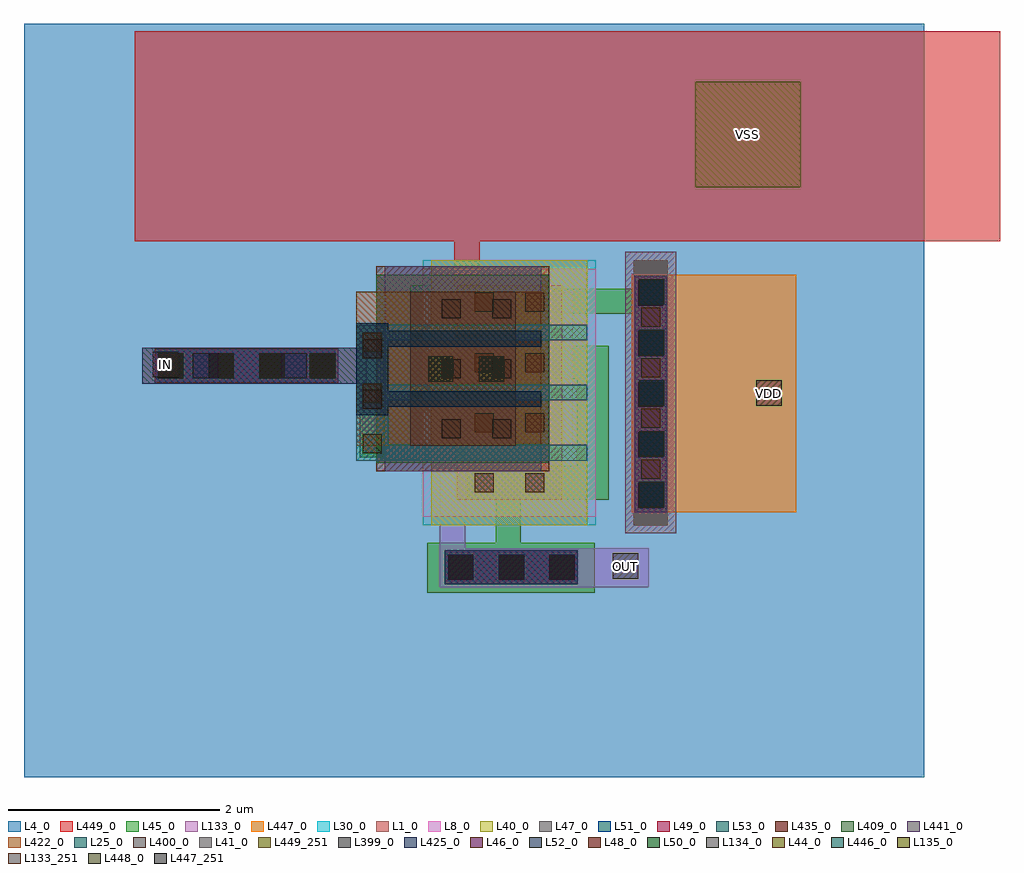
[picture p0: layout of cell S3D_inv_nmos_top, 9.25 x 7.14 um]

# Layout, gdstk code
from math import pi, radians
import gdstk
lib = gdstk.Library(unit=1e-6, precision=1e-09)
def R(c, l, rs):  # rectangles x0, y0, x1, y1
    for r in rs: c.add(gdstk.rectangle(r[:2], r[2:], *l))
def A(c, l, x, y, w, h, nx, ny, dx, dy):  # array of equal rectangles
    R(c, l, [(x+i*dx, y+j*dy, x+i*dx+w, y+j*dy+h) for i in range(nx) for j in range(ny)])
L1_0 = (1, 0)
L4_0 = (4, 0)
L8_0 = (8, 0)
L25_0 = (25, 0)
L30_0 = (30, 0)
L40_0 = (40, 0)
L41_0 = (41, 0)
L44_0 = (44, 0)
L45_0 = (45, 0)
L46_0 = (46, 0)
L47_0 = (47, 0)
L48_0 = (48, 0)
L49_0 = (49, 0)
L50_0 = (50, 0)
L51_0 = (51, 0)
L52_0 = (52, 0)
L53_0 = (53, 0)
L133_0 = (133, 0)
L133_251 = (133, 251)
L134_0 = (134, 0)
L135_0 = (135, 0)
L399_0 = (399, 0)
L400_0 = (400, 0)
L409_0 = (409, 0)
L422_0 = (422, 0)
L425_0 = (425, 0)
L435_0 = (435, 0)
L441_0 = (441, 0)
L446_0 = (446, 0)
L447_0 = (447, 0)
L447_251 = (447, 251)
L448_0 = (448, 0)
L449_0 = (449, 0)
L449_251 = (449, 251)

abutcontact_cdns_4466407 = lib.new_cell('AbutContact_CDNS_446640711562')
R(abutcontact_cdns_4466407, L1_0, [(-0.14,-0.03,2.37,0.29)])
A(abutcontact_cdns_4466407, L44_0, 0.3, 0.04, 0.18, 0.18, 4, 1, 0.48, 0)
R(abutcontact_cdns_4466407, L45_0, [(-0.14,-0.03,2.37,0.29)])

pmos_hs_4_cdns_446640711 = lib.new_cell('pmos_hs_4_CDNS_446640711560')
A(pmos_hs_4_cdns_446640711, L1_0, 0, 0, 0.15, 1, 3, 1, 0.57, 0)
A(pmos_hs_4_cdns_446640711, L1_0, -0.37, 0.1, 0.32, 0.8, 4, 1, 0.57, 0)
R(pmos_hs_4_cdns_446640711, L1_0, [(-0.37,0,0,1), (0.15,0,0.57,1), (0.72,0,1.14,1), (1.29,0,1.66,1)])
R(pmos_hs_4_cdns_446640711, L4_0, [(-1.02,-1.41,2.31,2.2), (-1.02,-1.41,2.31,2.2), (-0.77,-1.16,2.06,1.32)])
R(pmos_hs_4_cdns_446640711, L8_0, [(-0.53,-0.32,1.82,1.32)])
A(pmos_hs_4_cdns_446640711, L25_0, 0, -0.24, 0.15, 0.24, 3, 2, 0.57, 1.24)
A(pmos_hs_4_cdns_446640711, L25_0, 0, -0.24, 0.15, 1.48, 3, 1, 0.57, 0)
A(pmos_hs_4_cdns_446640711, L25_0, 0, 1.24, 0.15, 0.41, 3, 1, 0.57, 0)
R(pmos_hs_4_cdns_446640711, L25_0, [(0,1.65,1.29,1.95), (0.01,1.65,1.27,1.95)])
R(pmos_hs_4_cdns_446640711, L30_0, [(-0.61,-0.32,1.9,1.32)])
R(pmos_hs_4_cdns_446640711, L40_0, [(-0.61,-0.24,1.9,1.24)])
R(pmos_hs_4_cdns_446640711, L41_0, [(-0.69,-1.08,1.98,-0.6)])
A(pmos_hs_4_cdns_446640711, L44_0, -0.3, 0.17, 0.18, 0.18, 4, 2, 0.57, 0.48)
A(pmos_hs_4_cdns_446640711, L44_0, 0.07, 1.71, 0.18, 0.18, 3, 1, 0.48, 0)
A(pmos_hs_4_cdns_446640711, L45_0, -0.37, 0.1, 0.32, 0.8, 4, 1, 0.57, 0)
R(pmos_hs_4_cdns_446640711, L45_0, [(-0.61,-1,1.9,-0.68), (-0.37,-0.44,1.09,-0.14), (-0.37,-0.14,-0.05,0.1), (0.77,-0.14,1.09,0.1), (0.2,0.9,0.52,1.14), (1.34,0.9,1.66,1.14), (0.2,1.14,1.66,1.44), (0.03,1.68,1.25,1.92)])
pmos_hs_4_cdns_446640711.add(gdstk.Reference(abutcontact_cdns_4466407, (-0.47,-0.97)))

nmos_hs_4_top_cdns_44664 = lib.new_cell('nmos_hs_4_top_CDNS_446640711561')
A(nmos_hs_4_top_cdns_44664, L133_0, -0.37, 0, 0.32, 1, 3, 1, 0.57, 0)
R(nmos_hs_4_top_cdns_44664, L133_0, [(-0.37,-0.54,1.09,-0.24), (-0.37,-0.3,-0.05,0.04), (0.77,-0.3,1.09,0.04), (-0.28,0.06,-0.14,0.2), (0.29,0.06,0.43,0.2), (-0.06,1.24,0.2,1.48), (0.2,1.24,0.51,1.48), (0.51,1.24,0.77,1.48), (0,1.29,0.14,1.43)])
A(nmos_hs_4_top_cdns_44664, L135_0, -0.3, 0.04, 0.18, 0.18, 3, 2, 0.57, 0.48)
R(nmos_hs_4_top_cdns_44664, L135_0, [(-0.02,1.27,0.16,1.45), (0.46,1.27,0.64,1.45)])
R(nmos_hs_4_top_cdns_44664, L399_0, [(0,-0.24,0.15,1.21), (0.57,-0.24,0.72,1.21), (0.04,0.1,0.1,0.18), (-0.08,1.21,0.22,1.51), (0.22,1.21,0.49,1.51), (0.49,1.21,0.79,1.51)])
A(nmos_hs_4_top_cdns_44664, L400_0, -0.37, 0, 0.32, 1, 3, 1, 0.57, 0)
R(nmos_hs_4_top_cdns_44664, L400_0, [(-0.05,0,0,1), (0,0,0.15,1), (0.15,0,0.2,1), (0.52,0,0.57,1), (0.57,0,0.72,1), (0.72,0,0.77,1)])
R(nmos_hs_4_top_cdns_44664, L409_0, [(-0.53,-0.32,1.25,1.32)])
R(nmos_hs_4_top_cdns_44664, L422_0, [(-0.37,-0.24,1.09,1.51)])
R(nmos_hs_4_top_cdns_44664, L425_0, [(0,-0.24,0.15,1.21), (0.57,-0.24,0.72,1.21), (-0.08,1.21,0.22,1.51), (0.22,1.21,0.49,1.51), (0.49,1.21,0.79,1.51)])
R(nmos_hs_4_top_cdns_44664, L435_0, [(-0.61,-0.32,1.33,1.32)])
R(nmos_hs_4_top_cdns_44664, L441_0, [(-0.61,-0.24,1.33,1.24)])

m1_m2_cdns_446640711560 = lib.new_cell('M1_M2_CDNS_446640711560')
R(m1_m2_cdns_446640711560, L45_0, [(-0.87,-0.16,0.87,0.16)])
A(m1_m2_cdns_446640711560, L46_0, -0.84, -0.12, 0.24, 0.24, 4, 1, 0.48, 0)
R(m1_m2_cdns_446640711560, L47_0, [(-0.87,-0.16,0.87,0.16)])

m4_m5_cdns_446640711561 = lib.new_cell('M4_M5_CDNS_446640711561')
R(m4_m5_cdns_446640711561, L51_0, [(-0.87,-0.16,0.87,0.16)])
A(m4_m5_cdns_446640711561, L52_0, -0.84, -0.12, 0.24, 0.24, 4, 1, 0.48, 0)
R(m4_m5_cdns_446640711561, L53_0, [(-0.87,-0.16,0.87,0.16)])

m2_m3_cdns_446640711562 = lib.new_cell('M2_M3_CDNS_446640711562')
R(m2_m3_cdns_446640711562, L47_0, [(-0.87,-0.16,0.87,0.16)])
A(m2_m3_cdns_446640711562, L48_0, -0.84, -0.12, 0.24, 0.24, 4, 1, 0.48, 0)
R(m2_m3_cdns_446640711562, L49_0, [(-0.87,-0.16,0.87,0.16)])

m3_m4_cdns_446640711563 = lib.new_cell('M3_M4_CDNS_446640711563')
R(m3_m4_cdns_446640711563, L49_0, [(-0.87,-0.16,0.87,0.16)])
A(m3_m4_cdns_446640711563, L50_0, -0.84, -0.12, 0.24, 0.24, 4, 1, 0.48, 0)
R(m3_m4_cdns_446640711563, L51_0, [(-0.87,-0.16,0.87,0.16)])

m4_m5_cdns_446640711564 = lib.new_cell('M4_M5_CDNS_446640711564')
R(m4_m5_cdns_446640711564, L51_0, [(-0.63,-0.16,0.63,0.16)])
A(m4_m5_cdns_446640711564, L52_0, -0.6, -0.12, 0.24, 0.24, 3, 1, 0.48, 0)
R(m4_m5_cdns_446640711564, L53_0, [(-0.63,-0.16,0.63,0.16)])

m3_m4_cdns_446640711565 = lib.new_cell('M3_M4_CDNS_446640711565')
R(m3_m4_cdns_446640711565, L49_0, [(-0.63,-0.16,0.63,0.16)])
A(m3_m4_cdns_446640711565, L50_0, -0.6, -0.12, 0.24, 0.24, 3, 1, 0.48, 0)
R(m3_m4_cdns_446640711565, L51_0, [(-0.63,-0.16,0.63,0.16)])

m2_m3_cdns_446640711566 = lib.new_cell('M2_M3_CDNS_446640711566')
R(m2_m3_cdns_446640711566, L47_0, [(-0.63,-0.16,0.63,0.16)])
A(m2_m3_cdns_446640711566, L48_0, -0.6, -0.12, 0.24, 0.24, 3, 1, 0.48, 0)
R(m2_m3_cdns_446640711566, L49_0, [(-0.63,-0.16,0.63,0.16)])

m1_m2_cdns_446640711567 = lib.new_cell('M1_M2_CDNS_446640711567')
R(m1_m2_cdns_446640711567, L45_0, [(-0.63,-0.16,0.63,0.16)])
A(m1_m2_cdns_446640711567, L46_0, -0.6, -0.12, 0.24, 0.24, 3, 1, 0.48, 0)
R(m1_m2_cdns_446640711567, L47_0, [(-0.63,-0.16,0.63,0.16)])

m1_top_m2_top_cdns_44664 = lib.new_cell('M1_top_M2_top_CDNS_446640711568')
R(m1_top_m2_top_cdns_44664, L133_0, [(-0.15,-1.12,0.15,1.12)])
A(m1_top_m2_top_cdns_44664, L446_0, -0.12, -1.08, 0.24, 0.24, 1, 5, 0, 0.48)
R(m1_top_m2_top_cdns_44664, L447_0, [(-0.15,-1.12,0.15,1.12)])

m2_top_m3_top_cdns_44664 = lib.new_cell('M2_top_M3_top_CDNS_446640711569')
R(m2_top_m3_top_cdns_44664, L447_0, [(-0.39,-0.16,0.39,0.16)])
R(m2_top_m3_top_cdns_44664, L448_0, [(-0.36,-0.12,-0.12,0.12), (0.12,-0.12,0.36,0.12)])
R(m2_top_m3_top_cdns_44664, L449_0, [(-0.39,-0.16,0.39,0.16)])

c_m1_top_m2_top_cdns_44664 = lib.new_cell('M1_top_M2_top_CDNS_4466407115610')
R(c_m1_top_m2_top_cdns_44664, L133_0, [(-0.39,-0.16,0.39,0.16)])
R(c_m1_top_m2_top_cdns_44664, L446_0, [(-0.36,-0.12,-0.12,0.12), (0.12,-0.12,0.36,0.12)])
R(c_m1_top_m2_top_cdns_44664, L447_0, [(-0.39,-0.16,0.39,0.16)])

m4_m5_cdns_4466407115611 = lib.new_cell('M4_M5_CDNS_4466407115611')
R(m4_m5_cdns_4466407115611, L51_0, [(-0.15,-1.12,0.15,1.12)])
A(m4_m5_cdns_4466407115611, L52_0, -0.12, -1.08, 0.24, 0.24, 1, 5, 0, 0.48)
R(m4_m5_cdns_4466407115611, L53_0, [(-0.15,-1.12,0.15,1.12)])

m3_m4_cdns_4466407115612 = lib.new_cell('M3_M4_CDNS_4466407115612')
R(m3_m4_cdns_4466407115612, L49_0, [(-0.15,-1.12,0.15,1.12)])
A(m3_m4_cdns_4466407115612, L50_0, -0.12, -1.08, 0.24, 0.24, 1, 5, 0, 0.48)
R(m3_m4_cdns_4466407115612, L51_0, [(-0.15,-1.12,0.15,1.12)])

m2_m3_cdns_4466407115613 = lib.new_cell('M2_M3_CDNS_4466407115613')
R(m2_m3_cdns_4466407115613, L47_0, [(-0.15,-1.12,0.15,1.12)])
A(m2_m3_cdns_4466407115613, L48_0, -0.12, -1.08, 0.24, 0.24, 1, 5, 0, 0.48)
R(m2_m3_cdns_4466407115613, L49_0, [(-0.15,-1.12,0.15,1.12)])

m1_m2_cdns_4466407115614 = lib.new_cell('M1_M2_CDNS_4466407115614')
R(m1_m2_cdns_4466407115614, L45_0, [(-0.15,-1.12,0.15,1.12)])
A(m1_m2_cdns_4466407115614, L46_0, -0.12, -1.08, 0.24, 0.24, 1, 5, 0, 0.48)
R(m1_m2_cdns_4466407115614, L47_0, [(-0.15,-1.12,0.15,1.12)])

s3d_inv_nmos_top = lib.new_cell('S3D_inv_nmos_top')
R(s3d_inv_nmos_top, L4_0, [(-0.95,1.52,7.58,8.66)])
R(s3d_inv_nmos_top, L45_0, [(2.87,3.27,4.46,3.74), (0.17,5.25,2.29,5.59)])
A(s3d_inv_nmos_top, L53_0, 3.04, 3.36, 0.3, 0.3, 3, 1, 0.48, 0)
A(s3d_inv_nmos_top, L53_0, 4.84, 4.04, 0.3, 0.3, 1, 5, 0, 0.48)
R(s3d_inv_nmos_top, L53_0, [(0.17,5.25,2.3,5.59), (0.62,5.27,0.92,5.57), (1.46,5.27,1.76,5.57)])
R(s3d_inv_nmos_top, L133_0, [(2.99,3.32,4.97,3.69), (4.81,4.02,5.15,6.29), (0.17,5.25,2.42,5.59)])
R(s3d_inv_nmos_top, L133_251, [(4.63,3.4,4.87,3.64), (0.27,5.31,0.51,5.55)])
A(s3d_inv_nmos_top, L134_0, 3.07, 3.39, 0.24, 0.24, 3, 1, 0.48, 0)
A(s3d_inv_nmos_top, L134_0, 4.87, 4.07, 0.24, 0.24, 1, 5, 0, 0.48)
R(s3d_inv_nmos_top, L134_0, [(0.65,5.3,0.89,5.54), (1.49,5.3,1.73,5.54)])
R(s3d_inv_nmos_top, L447_0, [(4.81,4.03,6.37,6.28)])
R(s3d_inv_nmos_top, L447_251, [(5.99,5.04,6.23,5.28)])
R(s3d_inv_nmos_top, L449_0, [(0.1,6.6,8.3,8.59)])
R(s3d_inv_nmos_top, L449_251, [(5.41,7.11,6.41,8.11)])
s3d_inv_nmos_top.add(gdstk.FlexPath([(3.61,6.03),(5.13,6.03)], 0.24, ends="flush", simple_path=True, layer=45, datatype=0))  # L45_0
s3d_inv_nmos_top.add(gdstk.FlexPath([(3.64,4.45),(3.64,3.74)], 0.24, ends="flush", simple_path=True, layer=45, datatype=0))  # L45_0
s3d_inv_nmos_top.add(gdstk.FlexPath([(2.47,5.43),(0.24,5.43)], 0.24, ends="flush", simple_path=True, layer=133, datatype=0))  # L133_0
s3d_inv_nmos_top.add(gdstk.FlexPath([(3.11,4.93),(3.11,3.32)], 0.24, ends="flush", simple_path=True, layer=133, datatype=0))  # L133_0
s3d_inv_nmos_top.add(gdstk.FlexPath([(3.25,5.26),(3.25,7.13)], 0.24, ends="flush", simple_path=True, layer=449, datatype=0))  # L449_0
s3d_inv_nmos_top.add(gdstk.Reference(pmos_hs_4_cdns_446640711, (4.15,4.52), rotation=pi/2))
s3d_inv_nmos_top.add(gdstk.Reference(nmos_hs_4_top_cdns_44664, (3.71,5.03), rotation=pi/2))
s3d_inv_nmos_top.add(gdstk.Reference(m1_m2_cdns_446640711560, (1.16,5.42)))
s3d_inv_nmos_top.add(gdstk.Reference(m4_m5_cdns_446640711561, (1.16,5.42)))
s3d_inv_nmos_top.add(gdstk.Reference(m2_m3_cdns_446640711562, (1.16,5.42)))
s3d_inv_nmos_top.add(gdstk.Reference(m3_m4_cdns_446640711563, (1.16,5.42)))
s3d_inv_nmos_top.add(gdstk.Reference(m4_m5_cdns_446640711564, (3.67,3.51)))
s3d_inv_nmos_top.add(gdstk.Reference(m3_m4_cdns_446640711565, (3.67,3.51)))
s3d_inv_nmos_top.add(gdstk.Reference(m2_m3_cdns_446640711566, (3.67,3.51)))
s3d_inv_nmos_top.add(gdstk.Reference(m1_m2_cdns_446640711567, (3.67,3.51)))
s3d_inv_nmos_top.add(gdstk.Reference(m1_top_m2_top_cdns_44664, (5,5.16)))
s3d_inv_nmos_top.add(gdstk.Reference(m2_top_m3_top_cdns_44664, (3.24,5.39)))
s3d_inv_nmos_top.add(gdstk.Reference(c_m1_top_m2_top_cdns_44664, (3.24,5.39)))
s3d_inv_nmos_top.add(gdstk.Reference(m4_m5_cdns_4466407115611, (4.99,5.15)))
s3d_inv_nmos_top.add(gdstk.Reference(m3_m4_cdns_4466407115612, (4.99,5.15)))
s3d_inv_nmos_top.add(gdstk.Reference(m2_m3_cdns_4466407115613, (4.99,5.15)))
s3d_inv_nmos_top.add(gdstk.Reference(m1_m2_cdns_4466407115614, (4.99,5.15)))
s3d_inv_nmos_top.add(gdstk.Label('VDD', (6.11,5.16), layer=447, texttype=251))
s3d_inv_nmos_top.add(gdstk.Label('VSS', (5.91,7.61), layer=449, texttype=251))
s3d_inv_nmos_top.add(gdstk.Label('OUT', (4.75,3.52), layer=133, texttype=251))
s3d_inv_nmos_top.add(gdstk.Label('IN', (0.39,5.43), layer=133, texttype=251))

lib.write_gds('S3D_inv_nmos_top.gds')
